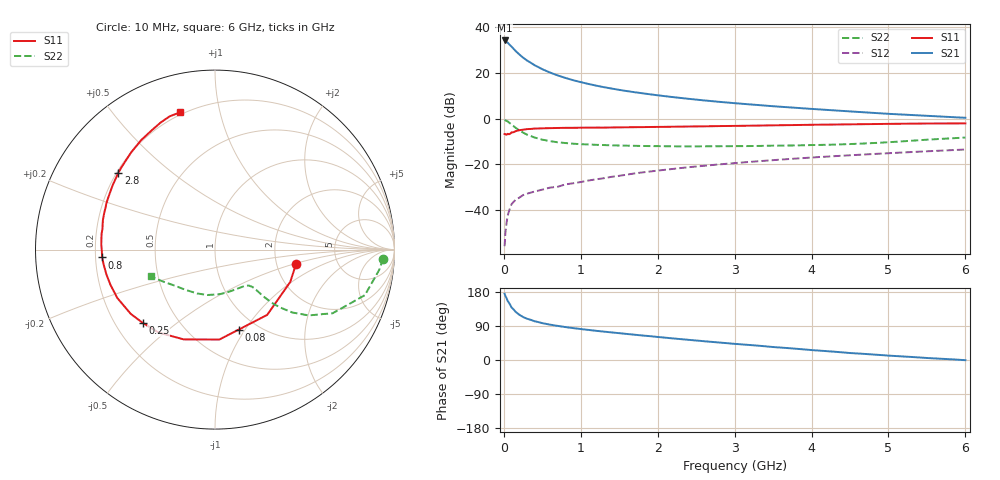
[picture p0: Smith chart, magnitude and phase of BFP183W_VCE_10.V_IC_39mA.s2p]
! Infineon Technologies  Discrete & RF Semiconductors
! BFP183W
! VCE =  10. V,  IC =  39 mA
! Common Emitter S-Parameters:  Jan 2017
# GHz  S  MA  R  50
!  f  S11  S21  S12  S22
! GHz  MAG  ANG  MAG  ANG  MAG  ANG  MAG  ANG
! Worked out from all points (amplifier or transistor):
!   77 points, 10 MHz to 6 GHz, reference 50 ohm
!   highest |S21| = 34.3 dB at 10 MHz (marker M1)
!   |S21| within 3 dB of that: start of sweep to 108.6 MHz
!   unconditionally stable (mu >= 1): 926.8 MHz to 3.66 GHz
!   at 130 MHz: K = 0.37, MSG = 33.5 dB, |S12| = -36.4 dB
!   at 2.2 GHz: K = 1.09, MAG = 13.9 dB, |S12| = -22.0 dB
!   at 6 GHz: K = 0.85, MSG = 7.0 dB, |S12| = -13.5 dB
!   S11 on the Smith chart (normalised r, x): 10 MHz: 2.58, -0.52; 80 MHz: 0.82, -0.94; 250 MHz: 0.31, -0.38; 800 MHz: 0.23, -0.03; 2.8 GHz: 0.21, +0.34; 6 GHz: 0.19, +0.76
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0.01  0.459 -9.9  51.97 174.7  0.0016 64.7  0.9378 -3.1
0.02  0.4564 -23.3  50.69 169.3  0.0031 92.9  0.9222 -7.0
0.05  0.4657 -51.4  46.59 155.8  0.0074 70.3  0.8728 -16.9
0.08  0.4651 -73.6  41.04 146.4  0.0109 63.9  0.7924 -23.4
0.1  0.5017 -87.2  38.1 138.7  0.0133 61.5  0.7453 -28.4
0.15  0.5298 -109.2  30.93 127.7  0.0165 54.9  0.6377 -35.1
0.2  0.5588 -124.2  25.75 119.5  0.0185 50.7  0.556 -39.1
0.25  0.5737 -134.7  21.85 113.5  0.0211 48.9  0.4958 -41.2
0.3  0.5903 -142.6  18.93 109.0  0.0226 47.8  0.4475 -42.8
0.4  0.6075 -153.7  14.87 102.2  0.0253 47.8  0.3857 -43.9
0.5  0.6148 -161.5  12.16 97.3  0.0278 49.0  0.3469 -44.2
0.6  0.6208 -167.3  10.29 93.3  0.0308 50.9  0.322 -44.4
0.7  0.6255 -172.0  8.888 90.0  0.0321 53.3  0.3036 -44.6
0.8  0.6303 -176.0  7.842 86.9  0.0362 55.4  0.2924 -45.1
1.1  0.6357 174.7  5.779 79.4  0.0441 58.5  0.272 -47.6
1.5  0.6457 165.3  4.284 70.8  0.0559 60.5  0.2581 -53.0
2.1  0.6629 153.1  3.112 58.9  0.0759 61.1  0.2488 -64.8
2.8  0.6883 141.4  2.343 46.1  0.0994 59.7  0.2489 -81.8
3.1  0.6982 136.7  2.122 41.1  0.1095 58.2  0.2503 -89.4
4.1  0.7381 122.9  1.598 24.8  0.144 52.9  0.2655 -115.2
5.1  0.7726 112.2  1.253 10.4  0.1784 46.8  0.3121 -141.6
6  0.7891 104.2  1.046 -0.5  0.2108 40.6  0.3862 -157.2
